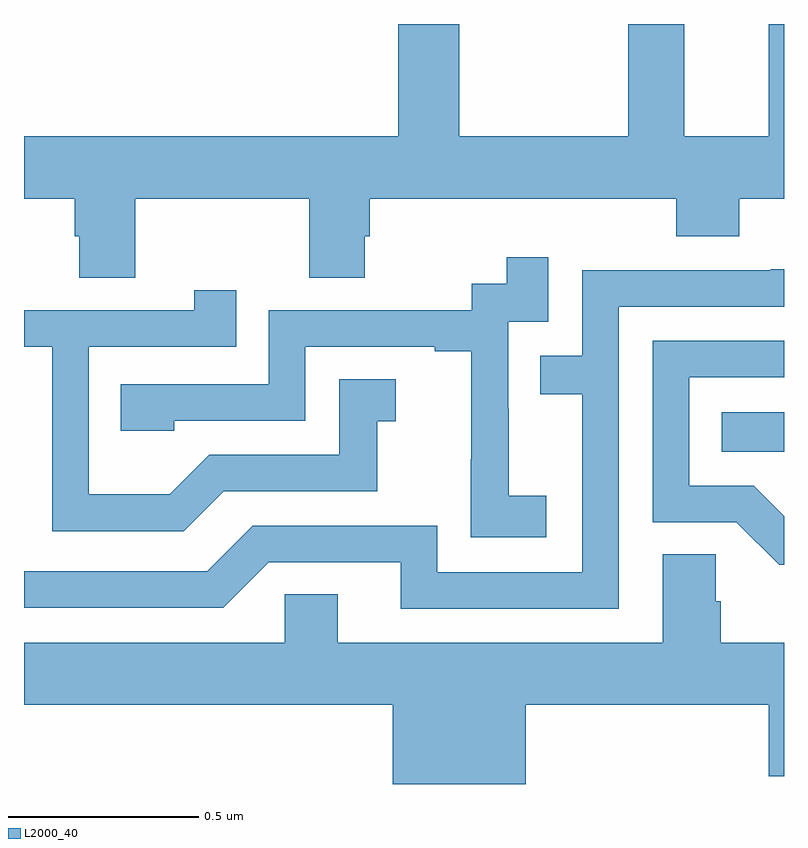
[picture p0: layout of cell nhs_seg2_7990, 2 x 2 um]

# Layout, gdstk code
import gdstk
lib = gdstk.Library(unit=1e-6, precision=1e-09)
def R(c, l, rs):  # rectangles x0, y0, x1, y1
    for r in rs: c.add(gdstk.rectangle(r[:2], r[2:], *l))
def P(c, l, *ps):  # polygons
    for p in ps: c.add(gdstk.Polygon(p, *l))
L2000_40 = (2000, 40)

nhs_seg2_7990 = lib.new_cell('nhs_seg2_7990')
R(nhs_seg2_7990, L2000_40, [(212.836,609.674,213,609.778)])
P(nhs_seg2_7990, L2000_40, [(211.293,610.34),(211.75,610.34),(211.75,610.132),(211.897,610.132),(211.897,610.242),(211.91,610.242),(211.91,610.34),(212.717,610.34),(212.717,610.241),(212.882,610.241),(212.882,610.34),(213,610.34),(213,610.8),(212.96,610.8),(212.96,610.504),(212.737,610.504),(212.737,610.8),(212.59,610.8),(212.59,610.504),(212.145,610.504),(212.145,610.8),(211.985,610.8),(211.985,610.504),(211,610.504),(211,610.34),(211.133,610.34),(211.133,610.242),(211.145,610.242),(211.145,610.132),(211.293,610.132)],
  [(212.374,609.559),(212.276,609.559),(212.276,609.788),(212.274,609.788),(212.274,610.017),(212.379,610.017),(212.379,610.186),(212.271,610.186),(212.271,610.116),(212.178,610.116),(212.178,610.047),(211.644,610.047),(211.644,609.852),(211.255,609.852),(211.255,609.729),(211.395,609.729),(211.395,609.756),(211.74,609.756),(211.74,609.951),(212.081,609.951),(212.081,609.939),(212.177,609.939),(212.177,609.655),(212.176,609.655),(212.176,609.449),(212.374,609.449)],
  [(212.565,610.056),(213,610.056),(213,610.154),(212.965,610.154),(212.965,610.152),(212.469,610.152),(212.469,609.927),(212.359,609.927),(212.359,609.826),(212.469,609.826),(212.469,609.357),(212.088,609.357),(212.088,609.48),(211.602,609.48),(211.482,609.36),(211,609.36),(211,609.264),(211.524,609.264),(211.644,609.384),(211.991,609.384),(211.991,609.261),(212.565,609.261)],
  [(211.525,609.57),(211.929,609.57),(211.929,609.755),(211.978,609.755),(211.978,609.865),(211.83,609.865),(211.83,609.666),(211.488,609.666),(211.384,609.562),(211.17,609.562),(211.17,609.951),(211.559,609.951),(211.559,610.099),(211.448,610.099),(211.448,610.047),(211,610.047),(211,609.951),(211.074,609.951),(211.074,609.465),(211.42,609.465)],
  [(213,609.505),(212.92,609.585),(212.751,609.585),(212.751,609.87),(213,609.87),(213,609.966),(212.655,609.966),(212.655,609.489),(212.874,609.489),(212.987,609.377),(213,609.377)],
  [(212.32,609.008),(212.96,609.008),(212.96,608.82),(213,608.82),(213,609.172),(212.834,609.172),(212.834,609.281),(212.82,609.281),(212.82,609.404),(212.681,609.404),(212.681,609.172),(211.825,609.172),(211.825,609.299),(211.686,609.299),(211.686,609.172),(211,609.172),(211,609.008),(211.97,609.008),(211.97,608.8),(212.32,608.8)])

lib.write_gds('nhs_seg2_7990.gds')
